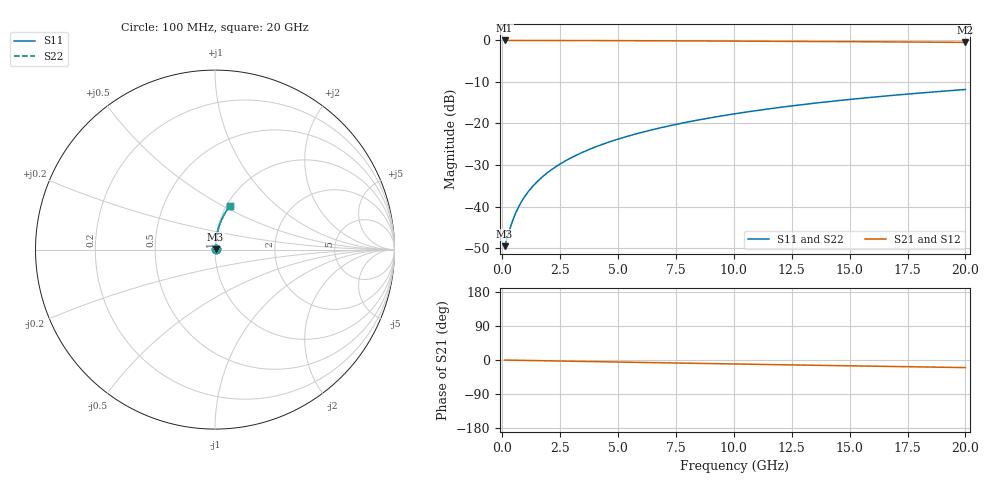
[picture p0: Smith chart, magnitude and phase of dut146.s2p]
! Touchstone file exported from HFSS 2024.1.0
!  File:  C:/UserFiles/LocalFiles/RDL_TSV_Batchsim/temp_RDL_bottom_146_1778697175.aedt
!  Generated:  02:35:49 AM May 14, 2026
!  Design:  RDL_bottom
!  Project:  temp_RDL_bottom_146_1778697175
!  Setup:  Setup1
!  Solution:  Sweep
! Variables:
!  dtsv = 10.80580581um
!  hbump = 3um
!  htsv = 92.41um
!  ldown = 226.06um
!  lrdl = 100um
!  p = 40
!  p1 = 40.77um
!  rhole = 1um
!  t = 450um
!  tdown = 2.4um
!  trdl = 3.915915916um
!  wdown = 11.8um
!  wrdl = 20um
# GHz S MA R 50.000000
! Terminal data exported
! Port[1] = RDL1_T1
! Port[2] = RDL1_T2
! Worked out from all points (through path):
!   200 points, 100 MHz to 20 GHz, reference 50 ohm
!   highest |S21| = -0.03 dB at 100 MHz (marker M1); lowest = -0.5 dB at 20 GHz (marker M2)
!   group delay of S21, straight-line fit = 2.78 ps
!   lowest |S11| = -49.5 dB at 100 MHz (marker M3), VSWR 1.01, Z = 50.3 + j0.135 ohm
!   |S11| at or under -10 dB: start of sweep to end of sweep
!   |S22| runs from -49.5 to -11.8 dB; largest |S21 - S12| = 2.4e-15
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0.1  0.003334 23.8  0.9969 -0.1  0.9969 -0.1  0.003334 23.8
! Gamma 0 0 0 0
! Port Impedance 50 0 50 0
0.4  0.006205 59.3  0.9968 -0.4  0.9968 -0.4  0.006205 59.3
0.5  0.007387 64.2  0.9968 -0.6  0.9968 -0.6  0.007387 64.2
0.6  0.0086 67.6  0.9967 -0.7  0.9967 -0.7  0.0086 67.6
0.7  0.009829 70.1  0.9966 -0.8  0.9966 -0.8  0.009829 70.1
0.9  0.01231 73.6  0.9965 -1.0  0.9965 -1.0  0.01231 73.6
1.2  0.01606 76.9  0.9963 -1.3  0.9963 -1.3  0.01606 76.9
1.4  0.01858 78.3  0.9961 -1.5  0.9961 -1.5  0.01858 78.3
1.7  0.02237 79.8  0.9959 -1.9  0.9959 -1.9  0.02237 79.8
2.2  0.02872 81.3  0.9955 -2.4  0.9955 -2.4  0.02872 81.3
2.8  0.03638 82.3  0.9949 -3.0  0.9949 -3.0  0.03638 82.3
3.5  0.04537 82.9  0.994 -3.8  0.994 -3.8  0.04537 82.9
4.2  0.05441 83.1  0.993 -4.5  0.993 -4.5  0.05441 83.1
5  0.06477 83.0  0.9917 -5.4  0.9917 -5.4  0.06477 83.0
5.9  0.07648 82.7  0.9899 -6.3  0.9899 -6.3  0.07648 82.7
6.8  0.08823 82.3  0.988 -7.2  0.988 -7.2  0.08823 82.3
8.3  0.1079 81.4  0.9844 -8.8  0.9844 -8.8  0.1079 81.4
10.1  0.1314 80.1  0.9796 -10.6  0.9796 -10.6  0.1314 80.1
11.7  0.1522 78.8  0.9749 -12.2  0.9749 -12.2  0.1522 78.7
13.4  0.1741 77.3  0.9695 -13.8  0.9695 -13.8  0.1741 77.3
16.7  0.2158 74.3  0.9582 -17.0  0.9582 -17.0  0.2158 74.3
20  0.2559 71.2  0.9458 -20.0  0.9458 -20.0  0.2559 71.2
